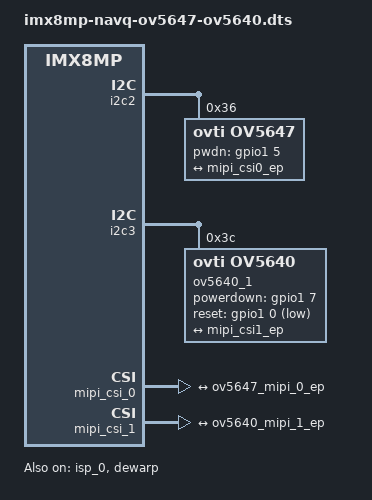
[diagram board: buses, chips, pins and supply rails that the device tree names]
// SPDX-License-Identifier: (GPL-2.0+ OR MIT)
/*
 * Copyright 2023 VoxelBotics
 * Copyright 2024 NXP
 */
#include "imx8mp-navq.dts"

&i2c2 {
	/delete-node/ov5645_mipi@3c;

	ov5647: ov5647@36 {
		compatible = "ovti,ov5647";
		reg = <0x36>;
		pinctrl-names = "default";
		pinctrl-0 = <&pinctrl_csi0_pwn>, <&pinctrl_csi0_rst>, <&pinctrl_csi_mclk>;
		clocks = <&clk IMX8MP_CLK_IPP_DO_CLKO1>;
		clock-names = "xclk";
		assigned-clocks = <&clk IMX8MP_CLK_IPP_DO_CLKO1>;
		assigned-clock-parents = <&clk IMX8MP_CLK_24M>;
		assigned-clock-rates = <24000000>;
		csi_id = <0>;
		pwdn-gpios = <&gpio1 5 GPIO_ACTIVE_HIGH>;
/*		rst-gpios = <&gpio1 6 GPIO_ACTIVE_LOW>; */ /* no support in driver */
		mclk = <24000000>;
		mclk_source = <0>;

		status = "okay";
		port {
			ov5647_mipi_0_ep: endpoint {
				remote-endpoint = <&mipi_csi0_ep>;
				data-lanes = <1 2>;
				clock-lanes = <0>;
				clock-noncontinuous;
				link-frequencies = /bits/ 64 <500000000>;
			};
		};
	};
};

&i2c3 {
	/delete-node/ov5645_mipi@3c;

	ov5640_1: ov5640_mipi@3c {
		compatible = "ovti,ov5640";
		reg = <0x3c>;
		pinctrl-names = "default";
		pinctrl-0 = <&pinctrl_csi1_pwn>, <&pinctrl_csi1_rst>, <&pinctrl_csi_mclk_extra>;
		clocks = <&clk IMX8MP_CLK_IPP_DO_CLKO2>;
		clock-names = "xclk";
		assigned-clocks = <&clk IMX8MP_CLK_IPP_DO_CLKO2>;
		assigned-clock-parents = <&clk IMX8MP_CLK_24M>;
		assigned-clock-rates = <24000000>;
		csi_id = <1>;
		powerdown-gpios = <&gpio1 7 GPIO_ACTIVE_HIGH>;
		reset-gpios = <&gpio1 0 GPIO_ACTIVE_LOW>;
		mclk = <24000000>;
		mclk_source = <0>;
		status = "okay";

		port {
			ov5640_mipi_1_ep: endpoint {
				remote-endpoint = <&mipi_csi1_ep>;
				data-lanes = <1 2>;
				clock-lanes = <0>;
			};
		};
	};
};

&mipi_csi_0 {
	/delete-node/port@0;
	port@0 {
		mipi_csi0_ep: endpoint {
			remote-endpoint = <&ov5647_mipi_0_ep>;
			data-lanes = <2>;
			csis-hs-settle = <16>;
		};
	};
};

&mipi_csi_1 {
	/delete-node/port@1;
	port@1 {
		reg = <1>;
		mipi_csi1_ep: endpoint {
			remote-endpoint = <&ov5640_mipi_1_ep>;
			data-lanes = <2>;
			csis-hs-settle = <13>;
			csis-clk-settle = <2>;
			csis-wclk;
		};
	};
};

&isi_0 {
	status = "disabled";
};

&isp_0 {
	status = "okay";
};

&dewarp {
	status = "okay";
};
